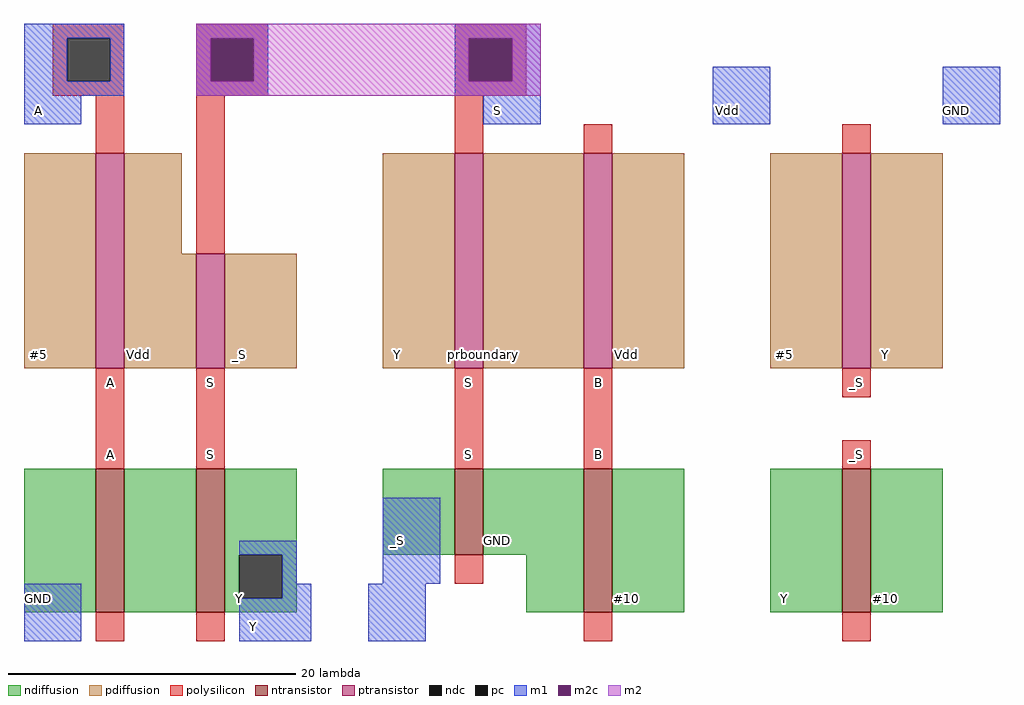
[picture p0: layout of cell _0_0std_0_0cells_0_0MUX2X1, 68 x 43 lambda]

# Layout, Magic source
magic
tech sky130l
<< ndiffusion >>
rect 8 6 13 16
rect 15 6 20 16
rect 22 10 27 16
rect 33 10 38 16
rect 40 10 47 16
rect 22 7 23 10
rect 26 7 27 10
rect 22 6 27 7
rect 43 6 47 10
rect 49 6 54 16
rect 60 6 65 16
rect 67 6 72 16
<< ndc >>
rect 23 7 26 10
<< ntransistor >>
rect 13 6 15 16
rect 20 6 22 16
rect 38 10 40 16
rect 47 6 49 16
rect 65 6 67 16
<< pdiffusion >>
rect 8 23 13 38
rect 15 31 19 38
rect 15 23 20 31
rect 22 23 27 31
rect 33 23 38 38
rect 40 23 47 38
rect 49 23 54 38
rect 60 23 65 38
rect 67 23 72 38
<< ptransistor >>
rect 13 23 15 38
rect 20 23 22 31
rect 38 23 40 38
rect 47 23 49 38
rect 65 23 67 38
<< polysilicon >>
rect 10 46 15 47
rect 10 43 11 46
rect 14 43 15 46
rect 10 42 15 43
rect 13 38 15 42
rect 20 46 25 47
rect 20 43 21 46
rect 24 43 25 46
rect 20 42 25 43
rect 38 46 43 47
rect 38 43 39 46
rect 42 43 43 46
rect 38 42 43 43
rect 20 31 22 42
rect 38 38 40 42
rect 47 38 49 40
rect 65 38 67 40
rect 13 16 15 23
rect 20 16 22 23
rect 38 16 40 23
rect 47 16 49 23
rect 65 21 67 23
rect 65 16 67 18
rect 38 8 40 10
rect 13 4 15 6
rect 20 4 22 6
rect 47 4 49 6
rect 65 4 67 6
<< pc >>
rect 11 43 14 46
rect 21 43 24 46
rect 39 43 42 46
<< m1 >>
rect 8 46 15 47
rect 8 43 11 46
rect 14 43 15 46
rect 8 42 15 43
rect 20 46 25 47
rect 20 43 21 46
rect 24 43 25 46
rect 20 42 25 43
rect 38 46 44 47
rect 38 43 39 46
rect 42 43 44 46
rect 38 42 44 43
rect 8 40 12 42
rect 40 40 44 42
rect 56 40 60 44
rect 72 40 76 44
rect 23 10 27 11
rect 8 4 12 8
rect 26 8 27 10
rect 33 8 37 14
rect 26 7 28 8
rect 23 4 28 7
rect 32 4 36 8
<< m2c >>
rect 21 43 24 46
rect 39 43 42 46
<< m2 >>
rect 20 46 44 47
rect 20 43 21 46
rect 24 43 39 46
rect 42 43 44 46
rect 20 42 44 43
<< labels >>
rlabel space 0 0 80 48 6 prboundary
rlabel pdiffusion 23 24 23 24 3 _S
rlabel ndiffusion 23 7 23 7 3 Y
rlabel polysilicon 21 17 21 17 3 S
rlabel polysilicon 21 22 21 22 3 S
rlabel pdiffusion 16 24 16 24 3 Vdd
rlabel polysilicon 14 17 14 17 3 A
rlabel polysilicon 14 22 14 22 3 A
rlabel ndiffusion 9 7 9 7 3 GND
rlabel pdiffusion 9 24 9 24 3 #5
rlabel ndiffusion 50 7 50 7 3 #10
rlabel polysilicon 48 17 48 17 3 B
rlabel polysilicon 48 22 48 22 3 B
rlabel pdiffusion 50 24 50 24 3 Vdd
rlabel ndiffusion 41 11 41 11 3 GND
rlabel polysilicon 39 17 39 17 3 S
rlabel polysilicon 39 22 39 22 3 S
rlabel ndiffusion 34 11 34 11 3 _S
rlabel pdiffusion 34 24 34 24 3 Y
rlabel ndiffusion 68 7 68 7 3 #10
rlabel pdiffusion 68 24 68 24 3 Y
rlabel polysilicon 66 17 66 17 3 _S
rlabel polysilicon 66 22 66 22 3 _S
rlabel ndiffusion 61 7 61 7 3 Y
rlabel pdiffusion 61 24 61 24 3 #5
rlabel m1 73 41 73 41 3 GND
port 1 e
rlabel m1 57 41 57 41 3 Vdd
port 2 e
rlabel m1 41 41 41 41 3 S
port 3 e
rlabel m1 9 41 9 41 3 A
port 6 e
rlabel m1 24 5 24 5 1 Y
<< end >>
